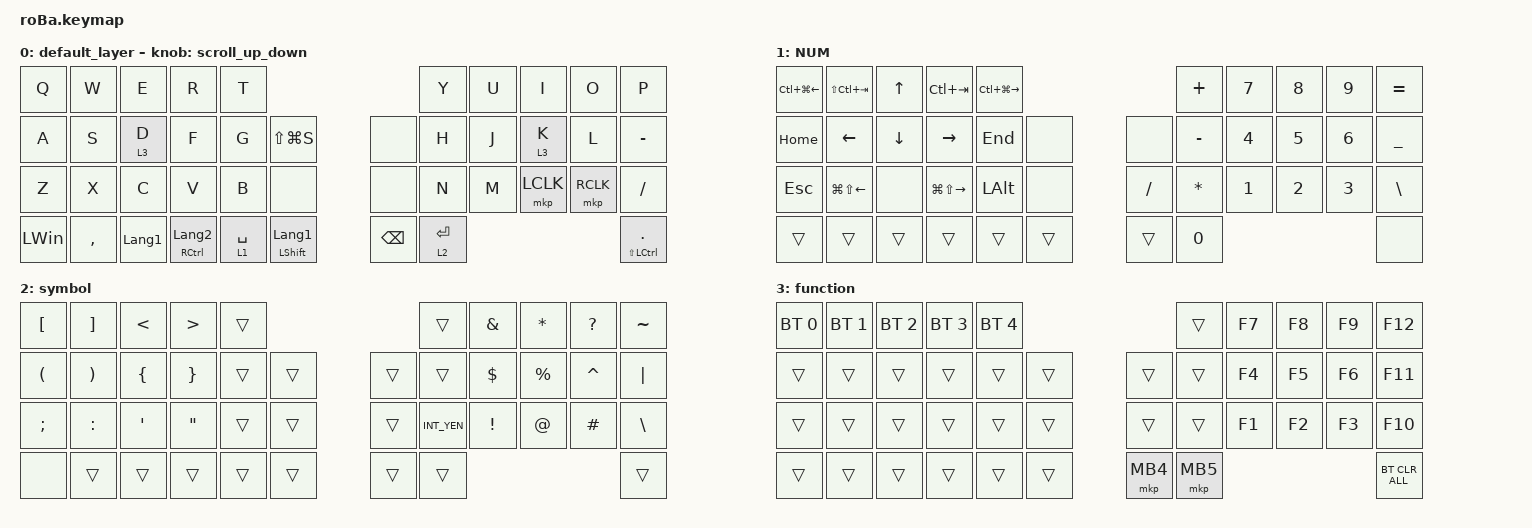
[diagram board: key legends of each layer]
#include <behaviors.dtsi>
#include <dt-bindings/zmk/bt.h>
#include <dt-bindings/zmk/keys.h>
#include <dt-bindings/zmk/pointing.h>

#define ZMK_POINTING_DEFAULT_SCRL_VAL 75

&mt {
    flavor = "balanced";
    quick-tap-ms = <0>;
};

&trackball {
    automouse-layer = <4>;
    scroll-layers = <3>;

    // arrows {
    //     layers = <3>;
    //     bindings =
    //         <&kp RIGHT_ARROW>,
    //         <&kp LEFT_ARROW>,
    //         <&kp UP_ARROW>,
    //         <&kp DOWN_ARROW>;
    //     tick = <10>;
    //     wait-ms = <5>;
    //     tap-ms = <5>;
    // };
};

/ {
    combos {
        compatible = "zmk,combos";

        period {
            bindings = <&kp PERIOD>;
            key-positions = <6 18>;
        };

        comma {
            bindings = <&kp COMMA>;
            key-positions = <7 19>;
        };

        tab {
            bindings = <&kp TAB>;
            key-positions = <3 13>;
        };

        shift+tab {
            bindings = <&kp LS(TAB)>;
            key-positions = <2 12>;
        };
    };

    macros {
        to_layer_0: to_layer_0 {
            compatible = "zmk,behavior-macro-one-param";
            #binding-cells = <1>;
            bindings = <&to 0 &macro_param_1to1 &kp MACRO_PLACEHOLDER>;
            label = "TO_LAYER_0";
        };
    };

    behaviors {
        lt_to_layer_0: lt_to_layer_0 {
            compatible = "zmk,behavior-hold-tap";
            label = "LAYER_TAP_TO_0";
            bindings = <&mo>, <&to_layer_0>;

            #binding-cells = <2>;
            tapping-term-ms = <200>;
        };

        scroll_up_down: behavior_sensor_rotate_mouse_wheel_up_down {
            compatible = "zmk,behavior-sensor-rotate";
            #sensor-binding-cells = <0>;
            bindings = <&msc SCRL_DOWN>, <&msc SCRL_UP>;

            // 追加: スクロールのタップ時間を設定 (20ms)

            tap-ms = <20>;
        };
    };

    keymap {
        compatible = "zmk,keymap";

        default_layer {
            bindings = <
&kp Q         &kp W      &kp E           &kp R                 &kp T                                                      &kp Y        &kp U  &kp I      &kp O      &kp P
&kp A         &kp S      &lt 3 D         &kp F                 &kp G        &kp LS(LG(S))                  &none          &kp H        &kp J  &lt 3 K    &kp L      &kp MINUS
&kp Z         &kp X      &kp C           &kp V                 &kp B        &none                          &none          &kp N        &kp M  &mkp LCLK  &mkp RCLK  &kp SLASH
&kp LEFT_WIN  &kp COMMA  &kp LANGUAGE_1  &mt RCTRL LANGUAGE_2  &lt 1 SPACE  &mt LEFT_SHIFT LANGUAGE_1      &kp BACKSPACE  &lt 2 ENTER                               &mt LS(LCTRL) PERIOD
            >;

            sensor-bindings = <&scroll_up_down>;
        };

        NUM {
            bindings = <
&kp LC(LG(LEFT))  &kp LS(LC(TAB))   &kp UP_ARROW    &kp LC(TAB)              &kp LC(LG(RIGHT))                         &kp PLUS      &kp NUMBER_7  &kp NUMBER_8  &kp NUMBER_9  &kp EQUAL
&kp HOME          &kp LEFT_ARROW    &kp DOWN_ARROW  &kp RIGHT_ARROW          &kp END            &none       &none      &kp MINUS     &kp NUMBER_4  &kp NUMBER_5  &kp NUMBER_6  &kp UNDERSCORE
&kp ESC           &kp LG(LS(LEFT))  &none           &kp LG(LS(RIGHT_ARROW))  &kp LEFT_ALT       &none       &kp SLASH  &kp ASTRK     &kp NUMBER_1  &kp NUMBER_2  &kp NUMBER_3  &kp BACKSLASH
&trans            &trans            &trans          &trans                   &trans             &trans      &trans     &kp NUMBER_0                                            &none
            >;
        };

        symbol {
            bindings = <
&kp LEFT_BRACKET      &kp RIGHT_BRACKET      &kp LESS_THAN   &kp GREATER_THAN   &trans                      &trans       &kp AMPERSAND    &kp ASTERISK  &kp QUESTION  &kp TILDE
&kp LEFT_PARENTHESIS  &kp RIGHT_PARENTHESIS  &kp LEFT_BRACE  &kp RIGHT_BRACE    &trans  &trans      &trans  &trans       &kp DOLLAR       &kp PERCENT   &kp CARET     &kp PIPE
&kp SEMICOLON         &kp COLON              &kp SQT         &kp DOUBLE_QUOTES  &trans  &trans      &trans  &kp INT_YEN  &kp EXCLAMATION  &kp AT        &kp HASH      &kp BACKSLASH
&none                 &trans                 &trans          &trans             &trans  &trans      &trans  &trans                                                    &trans
            >;
        };

        function {
            bindings = <
&bt BT_SEL 0  &bt BT_SEL 1  &bt BT_SEL 2  &bt BT_SEL 3  &bt BT_SEL 4                        &trans    &kp F7  &kp F8  &kp F9  &kp F12
&trans        &trans        &trans        &trans        &trans        &trans      &trans    &trans    &kp F4  &kp F5  &kp F6  &kp F11
&trans        &trans        &trans        &trans        &trans        &trans      &trans    &trans    &kp F1  &kp F2  &kp F3  &kp F10
&trans        &trans        &trans        &trans        &trans        &trans      &mkp MB4  &mkp MB5                          &bt BT_CLR_ALL
            >;
        };
    };
};
